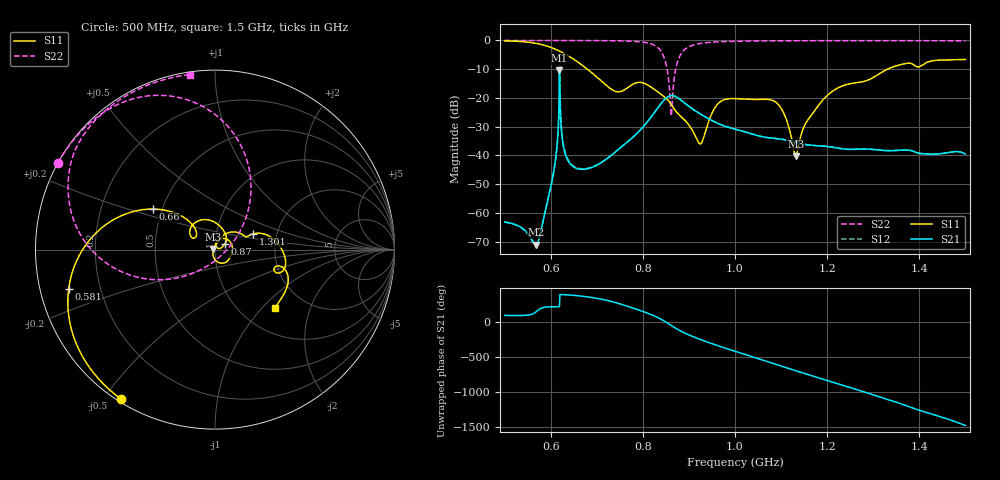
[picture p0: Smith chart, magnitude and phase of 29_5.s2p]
! TOUCHSTONE file generated by CST MICROWAVE STUDIO
! Date and time: Mon Oct 26 12:30:35 2020
! Project name: Scenario_1_Circular_Tissue_out_of_Line.cst
! Parameters = {dy1=139.548; L_HA=400; MT=2.54; Rad_Dielectric=30; Rad_Lower=7.3; Rad_Upper=30; a_HA=580; a_WG=246; b_HA=500; b_WG=121; c_HA=0; c_WG=187; d_feed=85; dx1=866; h_feed=15; h_lower=18; h_upper=40}
! Header version: 2018
! Port assignment regex: !\s*Touchstone port\s*([0-9]+)\s*=\s*(CST MWS port|CST DS port)\s*([0-9]+|Zmin|Zmax)\s*\(\"(.*)\"\)(\s*mode\s*([0-9]+))?.*
! Touchstone port assignment:
! Touchstone port 1 = CST MWS port 1 ("")
! Touchstone port 2 = CST MWS port 2 ("")
# GHz S DB R 50
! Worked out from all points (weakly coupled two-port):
!   1001 points, 500 MHz to 1.5 GHz, reference 50 ohm
!   highest |S21| = -10.39 dB at 619 MHz (marker M1); lowest = -71.1 dB at 568 MHz (marker M2)
!   lowest |S11| = -40.3 dB at 1.132 GHz (marker M3), VSWR 1.02, Z = 49.1 + j0.302 ohm
!   |S11| at or under -10 dB: 679.5 MHz to 1.331 GHz (651.5 MHz wide, 64.8 % of centre)
!   |S22| runs from -26.2 to 0.0 dB; largest |S21 - S12| = 0.34
!   S11 on the Smith chart (normalised r, x): 500 MHz: 0.01, -0.55; 581 MHz: 0.09, -0.13; 660 MHz: 0.44, +0.24; 870 MHz: 1.11, +0.07; 1.301 GHz: 1.51, +0.28; 1.5 GHz: 1.42, -1.18
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0.5  -0.14 -122.3  -63.20 96.4  -63.20 96.4  -0.01 151.1
0.568  -1.01 -156.6  -71.13 146.0  -71.60 150.1  -0.01 146.5
0.581  -1.46 -164.8  -64.70 -156.3  -64.48 -153.5  -0.02 145.6
0.607  -2.84 178.0  -45.20 -140.1  -45.33 -140.7  -0.02 143.6
0.619  -3.71 170.2  -10.39 -130.8  -19.44 -158.2  -0.02 142.6
0.634  -4.99 160.9  -40.65 31.5  -40.13 33.0  -0.03 141.4
0.66  -7.67 146.9  -44.73 17.1  -44.48 17.6  -0.04 139.1
0.667  -8.47 143.7  -44.87 12.2  -44.66 12.5  -0.04 138.4
0.739  -17.63 141.3  -38.99 -76.9  -38.98 -77.0  -0.12 129.7
0.779  -15.18 143.8  -33.60 -159.6  -33.60 -159.6  -0.30 121.3
0.834  -18.09 72.2  -23.15 60.2  -23.15 60.2  -2.71 87.9
0.861  -22.12 36.6  -19.19 -45.0  -19.19 -45.0  -25.44 -19.2
0.87  -24.29 29.2  -19.44 -82.6  -19.44 -82.6  -10.99 -145.1
0.925  -36.01 45.8  -25.63 110.5  -25.63 110.5  -1.05 157.5
0.96  -22.61 57.2  -28.66 28.6  -28.66 28.6  -0.51 147.7
1  -20.26 4.8  -30.85 -57.5  -30.85 -57.5  -0.29 140.8
1.09  -21.65 -66.0  -34.15 112.9  -34.15 112.9  -0.14 130.9
1.132  -40.29 161.5  -35.48 22.7  -35.48 22.7  -0.11 127.2
1.167  -25.83 67.3  -36.51 -47.0  -36.51 -47.0  -0.10 124.4
1.301  -12.78 22.5  -37.96 35.3  -37.97 35.3  -0.08 114.2
1.334  -9.78 11.6  -38.36 -34.0  -38.36 -34.0  -0.09 111.6
1.5  -6.62 -44.5  -39.51 -40.3  -39.51 -40.3  -0.13 98.1
